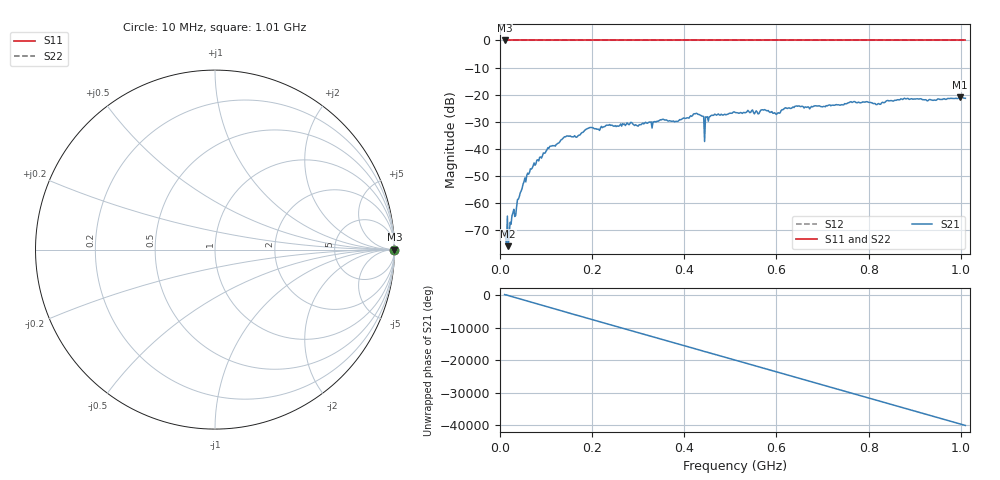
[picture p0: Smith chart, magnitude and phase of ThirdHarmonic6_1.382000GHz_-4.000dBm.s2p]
! 8/16/2025 3:42:19 PM
! C:\ANRITSUVNA\TEMP\TEMP.S2P
! CHANNEL.1
! TR.MEASUREMENT
! RAW.DATA
! RF.CORRECTION.OFF
! AVERAGING.OFF
! IF.BANDWIDTH: 5KHZ
! SWEEPTYPE:  FREQ.SWEEP(Linear)
! Reference Plane Port Info
! PORT:  PORT1  PORT2
! DISTANCE:  0  m  0  m
! TIME:  0  s  0  s
! PHASE.OFFSET:  0  deg.  0  deg.
! LOSS:  0  dB  0  dB
! REF.LOSS:  0  dB  0  dB
! REF.FREQ:  0  Hz  0  Hz
! Power Info
! POWER:  -20  dBm  -20  dBm
! EFF.POWER:  -20  dBm  -20  dBm
! SOURCE.ATTEN:  0  dB  0  dB
! TEST.ATTEN:  0  dB  0  dB
# GHZ S RI R 50.0
! FREQ.GHZ  S11RE  S11IM  S21RE  S21IM  S12RE  S12IM  S22RE  S22IM
!; PortSelection: Port_12
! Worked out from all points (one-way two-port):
!   501 points, 10 MHz to 1.01 GHz, reference 50 ohm
!   highest |S21| = -20.95 dB at 998 MHz (marker M1); lowest = -75.9 dB at 18 MHz (marker M2)
!   lowest |S11| = 0.0 dB at 10 MHz (marker M3)
!   |S11| at or under -10 dB: nowhere
!   |S22| runs from 0.0 to 0.0 dB; largest |S21 - S12| = 1.1
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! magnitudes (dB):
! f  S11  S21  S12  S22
! 10 MHz  0.0  -70.6  0.0  0.0
! 18 MHz  0.0  -75.9  0.0  0.0
! 22 MHz  0.0  -67.1  0.0  0.0
! 26 MHz  0.0  -64.6  0.0  0.0
! 36 MHz  0.0  -61.4  0.0  0.0
! 50 MHz  0.0  -53.0  0.0  0.0
! 70 MHz  0.0  -47.0  0.0  0.0
! 108 MHz  0.0  -39.1  0.0  0.0
! 178 MHz  0.0  -34.0  0.0  0.0
! 196 MHz  0.0  -32.1  0.0  0.0
! 344 MHz  0.0  -29.7  0.0  0.0
! 382 MHz  0.0  -29.8  0.0  0.0
! 424 MHz  0.0  -27.0  0.0  0.0
! 448 MHz  0.0  -28.3  0.0  0.0
! 450 MHz  0.0  -28.1  0.0  0.0
! 462 MHz  0.0  -27.6  0.0  0.0
! 510 MHz  0.0  -26.5  0.0  0.0
! 602 MHz  0.0  -26.9  0.0  0.0
! 678 MHz  0.0  -24.5  0.0  0.0
! 844 MHz  0.0  -22.3  0.0  0.0
! 998 MHz  0.0  -21.0  0.0  0.0
! 1.01 GHz  0.0  -21.3  0.0  0.0
